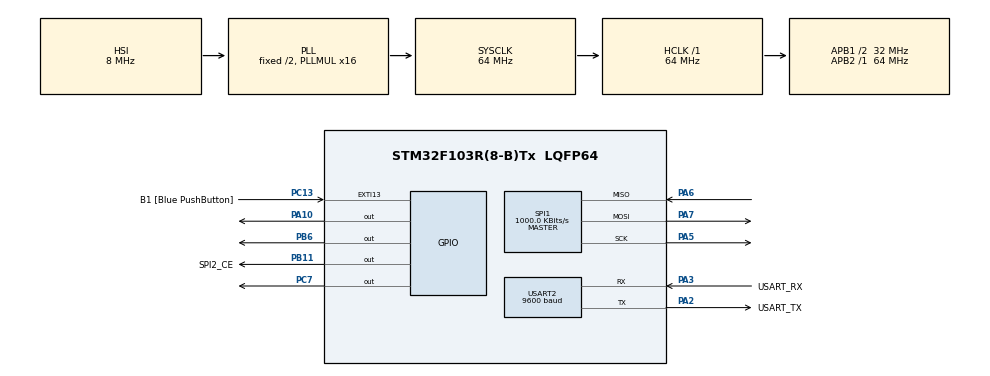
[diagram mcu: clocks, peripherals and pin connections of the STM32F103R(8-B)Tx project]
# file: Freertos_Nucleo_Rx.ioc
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FREERTOS.Tasks01=Task_Idle,-3,128,Idle_App,Default,NULL,Dynamic,NULL,NULL;Task_SPI,0,256,SPI_App,Default,NULL,Dynamic,NULL,NULL;Task_UART,0,256,UART_App,Default,NULL,Dynamic,NULL,NULL
FREERTOS.configUSE_NEWLIB_REENTRANT=1
Mcu.Family=STM32F1
Mcu.Name=STM32F103R(8-B)Tx
Mcu.Package=LQFP64
NVIC.EXTI15_10_IRQn=true\:5\:0\:false\:false\:true\:true\:true\:true\:true
NVIC.PriorityGroup=NVIC_PRIORITYGROUP_4
NVIC.TIM4_IRQn=true\:15\:0\:false\:false\:true\:false\:false\:true\:true
NVIC.TimeBase=TIM4_IRQn
NVIC.TimeBaseIP=TIM4
PA10.Signal=GPIO_Output
PA13.GPIO_Label=TMS
PA13.Mode=Serial_Wire
PA13.Signal=SYS_JTMS-SWDIO
PA14.GPIO_Label=TCK
PA14.Mode=Serial_Wire
PA14.Signal=SYS_JTCK-SWCLK
PA2.GPIO_Label=USART_TX
PA2.GPIO_Mode=GPIO_MODE_AF_PP
PA2.GPIO_PuPd=GPIO_NOPULL
PA2.GPIO_Speed=GPIO_SPEED_FREQ_LOW
PA2.Mode=Asynchronous
PA2.Signal=USART2_TX
PA3.GPIO_Label=USART_RX
PA3.GPIO_Mode=GPIO_MODE_AF_PP
PA3.GPIO_PuPd=GPIO_NOPULL
PA3.GPIO_Speed=GPIO_SPEED_FREQ_LOW
PA3.Mode=Asynchronous
PA3.Signal=USART2_RX
PA5.Mode=Full_Duplex_Master
PA5.Signal=SPI1_SCK
PA6.Mode=Full_Duplex_Master
PA6.Signal=SPI1_MISO
PA7.Mode=Full_Duplex_Master
PA7.Signal=SPI1_MOSI
PB11.GPIO_Label=SPI2_CE
PB11.Signal=GPIO_Output
PB12.Signal=SPI2_NSS
PB3.GPIO_Label=SWO
PB3.Signal=SYS_JTDO-TRACESWO
PB6.Signal=GPIO_Output
PC13-TAMPER-RTC.GPIO_Label=B1 [Blue PushButton]
PC13-TAMPER-RTC.GPIO_PuPd=GPIO_NOPULL
PC13-TAMPER-RTC.Signal=GPXTI13
PC14-OSC32_IN.Mode=LSE-External-Oscillator
PC14-OSC32_IN.Signal=RCC_OSC32_IN
PC15-OSC32_OUT.Mode=LSE-External-Oscillator
PC15-OSC32_OUT.Signal=RCC_OSC32_OUT
PC7.Signal=GPIO_Output
PD0-OSC_IN.Mode=HSE-External-Clock-Source
PD0-OSC_IN.Signal=RCC_OSC_IN
PD1-OSC_OUT.Mode=HSE-External-Clock-Source
PD1-OSC_OUT.Signal=RCC_OSC_OUT
ProjectManager.HeapSize=0x200
ProjectManager.StackSize=0x400
ProjectManager.TargetToolchain=STM32CubeIDE
RCC.AHBFreq_Value=64000000
RCC.APB1CLKDivider=RCC_HCLK_DIV2
RCC.APB1Freq_Value=32000000
RCC.APB1TimFreq_Value=64000000
RCC.APB2Freq_Value=64000000
RCC.APB2TimFreq_Value=64000000
RCC.HCLKFreq_Value=64000000
RCC.PLLMUL=RCC_PLL_MUL16
RCC.RTCClockSelection=RCC_RTCCLKSOURCE_LSE
RCC.SYSCLKFreq_VALUE=64000000
RCC.SYSCLKSource=RCC_SYSCLKSOURCE_PLLCLK
RCC.USBFreq_Value=64000000
SPI1.BaudRatePrescaler=SPI_BAUDRATEPRESCALER_64
SPI1.CalculateBaudRate=1000.0 KBits/s
SPI1.Direction=SPI_DIRECTION_2LINES
SPI1.Mode=SPI_MODE_MASTER
SPI1.VirtualType=VM_MASTER
USART2.BaudRate=9600
USART2.Mode=MODE_TX
USART2.VirtualMode=VM_ASYNC
USART2.WordLength=WORDLENGTH_8B
VP_FREERTOS_VS_CMSIS_V1.Mode=CMSIS_V1
VP_SYS_VS_tim4.Mode=TIM4
board=NUCLEO-F103RB

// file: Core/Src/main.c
/* USER CODE BEGIN Header */
/**
  ******************************************************************************
  * @file           : main.c
  * @brief          : Main program body
  ******************************************************************************
  * @attention
  *
  * Copyright (c) 2022 STMicroelectronics.
  * All rights reserved.
  *
  * This software is licensed under terms that can be found in the LICENSE file
  * in the root directory of this software component.
  * If no LICENSE file comes with this software, it is provided AS-IS.
  *
  ******************************************************************************
  */
/* USER CODE END Header */
#include "main.h"
#include "cmsis_os.h"

/* USER CODE BEGIN Includes */
#include <stdio.h>
#include "nrf24l01.h"
/* USER CODE END Includes */

/* USER CODE BEGIN PD */
#define LED_GREEN_GPIO		GPIOA
#define LED_GREEN_PIN		GPIO_PIN_10
#define BLUE_BUTTON_GPIO	GPIOC
#define BLUE_BUTTON_PIN 	GPIO_PIN_13
#define SPI_CE_GPIO			GPIOC
#define SPI_CE_PIN			GPIO_PIN_7
/* USER CODE END PD */

SPI_HandleTypeDef hspi1;

UART_HandleTypeDef huart2;

osThreadId Task_IdleHandle;
osThreadId Task_SPIHandle;
osThreadId Task_UARTHandle;

void SystemClock_Config(void);
static void MX_GPIO_Init(void);
static void MX_USART2_UART_Init(void);
static void MX_SPI1_Init(void);
void Idle_App(void const * argument);
void SPI_App(void const * argument);
void UART_App(void const * argument);

/* USER CODE BEGIN 0 */
uint8_t UART_STATUS=0;
uint8_t RxAddress[]={0xEE, 0xDD, 0xCC, 0xBB, 0xAA};
uint8_t Rx_data[64];
typedef enum
{
ALLUMER=GPIO_PIN_SET,
ETEINDRE=GPIO_PIN_RESET
}etatled_e;
etatled_e etatled_verte=ETEINDRE;
/* USER CODE END 0 */

int main(void)
{

  /* MCU Configuration--------------------------------------------------------*/

  /* Reset of all peripherals, Initializes the Flash interface and the Systick. */
  HAL_Init();

  /* Configure the system clock */
  SystemClock_Config();

  /* Initialize all configured peripherals */
  MX_GPIO_Init();
  MX_USART2_UART_Init();
  MX_SPI1_Init();
  /* USER CODE BEGIN 2 */
  nrf24_Init();

  nrf24_RxMode(RxAddress, 10);
  /* USER CODE END 2 */

  /* Create the thread(s) */
  /* definition and creation of Task_Idle */
  osThreadDef(Task_Idle, Idle_App, osPriorityIdle, 0, 128);
  Task_IdleHandle = osThreadCreate(osThread(Task_Idle), NULL);

  /* definition and creation of Task_SPI */
  osThreadDef(Task_SPI, SPI_App, osPriorityNormal, 0, 256);
  Task_SPIHandle = osThreadCreate(osThread(Task_SPI), NULL);

  /* definition and creation of Task_UART */
  osThreadDef(Task_UART, UART_App, osPriorityNormal, 0, 256);
  Task_UARTHandle = osThreadCreate(osThread(Task_UART), NULL);

  /* Start scheduler */
  osKernelStart();

  /* We should never get here as control is now taken by the scheduler */
  /* Infinite loop */
  while (1)
  {

  }
}

void SystemClock_Config(void)
{
  RCC_OscInitTypeDef RCC_OscInitStruct = {0};
  RCC_ClkInitTypeDef RCC_ClkInitStruct = {0};

  /** Initializes the RCC Oscillators according to the specified parameters
  * in the RCC_OscInitTypeDef structure.
  */
  RCC_OscInitStruct.OscillatorType = RCC_OSCILLATORTYPE_HSI;
  RCC_OscInitStruct.HSIState = RCC_HSI_ON;
  RCC_OscInitStruct.HSICalibrationValue = RCC_HSICALIBRATION_DEFAULT;
  RCC_OscInitStruct.PLL.PLLState = RCC_PLL_ON;
  RCC_OscInitStruct.PLL.PLLSource = RCC_PLLSOURCE_HSI_DIV2;
  RCC_OscInitStruct.PLL.PLLMUL = RCC_PLL_MUL16;
  if (HAL_RCC_OscConfig(&RCC_OscInitStruct) != HAL_OK)
  {
    Error_Handler();
  }

  /** Initializes the CPU, AHB and APB buses clocks
  */
  RCC_ClkInitStruct.ClockType = RCC_CLOCKTYPE_HCLK|RCC_CLOCKTYPE_SYSCLK
                              |RCC_CLOCKTYPE_PCLK1|RCC_CLOCKTYPE_PCLK2;
  RCC_ClkInitStruct.SYSCLKSource = RCC_SYSCLKSOURCE_PLLCLK;
  RCC_ClkInitStruct.AHBCLKDivider = RCC_SYSCLK_DIV1;
  RCC_ClkInitStruct.APB1CLKDivider = RCC_HCLK_DIV2;
  RCC_ClkInitStruct.APB2CLKDivider = RCC_HCLK_DIV1;

  if (HAL_RCC_ClockConfig(&RCC_ClkInitStruct, FLASH_LATENCY_2) != HAL_OK)
  {
    Error_Handler();
  }
}

static void MX_SPI1_Init(void)
{

  /* SPI1 parameter configuration*/
  hspi1.Instance = SPI1;
  hspi1.Init.Mode = SPI_MODE_MASTER;
  hspi1.Init.Direction = SPI_DIRECTION_2LINES;
  hspi1.Init.DataSize = SPI_DATASIZE_8BIT;
  hspi1.Init.CLKPolarity = SPI_POLARITY_LOW;
  hspi1.Init.CLKPhase = SPI_PHASE_1EDGE;
  hspi1.Init.NSS = SPI_NSS_SOFT;
  hspi1.Init.BaudRatePrescaler = SPI_BAUDRATEPRESCALER_64;
  hspi1.Init.FirstBit = SPI_FIRSTBIT_MSB;
  hspi1.Init.TIMode = SPI_TIMODE_DISABLE;
  hspi1.Init.CRCCalculation = SPI_CRCCALCULATION_DISABLE;
  hspi1.Init.CRCPolynomial = 10;
  if (HAL_SPI_Init(&hspi1) != HAL_OK)
  {
    Error_Handler();
  }

}

static void MX_USART2_UART_Init(void)
{

  huart2.Instance = USART2;
  huart2.Init.BaudRate = 9600;
  huart2.Init.WordLength = UART_WORDLENGTH_8B;
  huart2.Init.StopBits = UART_STOPBITS_1;
  huart2.Init.Parity = UART_PARITY_NONE;
  huart2.Init.Mode = UART_MODE_TX;
  huart2.Init.HwFlowCtl = UART_HWCONTROL_NONE;
  huart2.Init.OverSampling = UART_OVERSAMPLING_16;
  if (HAL_UART_Init(&huart2) != HAL_OK)
  {
    Error_Handler();
  }

}

static void MX_GPIO_Init(void)
{
  GPIO_InitTypeDef GPIO_InitStruct = {0};

  /* GPIO Ports Clock Enable */
  __HAL_RCC_GPIOC_CLK_ENABLE();
  __HAL_RCC_GPIOD_CLK_ENABLE();
  __HAL_RCC_GPIOA_CLK_ENABLE();
  __HAL_RCC_GPIOB_CLK_ENABLE();

  /*Configure GPIO pin Output Level */
  HAL_GPIO_WritePin(GPIOB, SPI2_CE_Pin|GPIO_PIN_6, GPIO_PIN_RESET);

  /*Configure GPIO pin Output Level */
  HAL_GPIO_WritePin(GPIOC, GPIO_PIN_7, GPIO_PIN_RESET);

  /*Configure GPIO pin Output Level */
  HAL_GPIO_WritePin(GPIOA, GPIO_PIN_10, GPIO_PIN_RESET);

  /*Configure GPIO pin : B1_Pin */
  GPIO_InitStruct.Pin = B1_Pin;
  GPIO_InitStruct.Mode = GPIO_MODE_IT_RISING;
  GPIO_InitStruct.Pull = GPIO_NOPULL;
  HAL_GPIO_Init(B1_GPIO_Port, &GPIO_InitStruct);

  /*Configure GPIO pins : SPI2_CE_Pin PB6 */
  GPIO_InitStruct.Pin = SPI2_CE_Pin|GPIO_PIN_6;
  GPIO_InitStruct.Mode = GPIO_MODE_OUTPUT_PP;
  GPIO_InitStruct.Pull = GPIO_NOPULL;
  GPIO_InitStruct.Speed = GPIO_SPEED_FREQ_LOW;
  HAL_GPIO_Init(GPIOB, &GPIO_InitStruct);

  /*Configure GPIO pin : PB12 */
  GPIO_InitStruct.Pin = GPIO_PIN_12;
  GPIO_InitStruct.Mode = GPIO_MODE_AF_PP;
  GPIO_InitStruct.Speed = GPIO_SPEED_FREQ_HIGH;
  HAL_GPIO_Init(GPIOB, &GPIO_InitStruct);

  /*Configure GPIO pin : PC7 */
  GPIO_InitStruct.Pin = GPIO_PIN_7;
  GPIO_InitStruct.Mode = GPIO_MODE_OUTPUT_PP;
  GPIO_InitStruct.Pull = GPIO_NOPULL;
  GPIO_InitStruct.Speed = GPIO_SPEED_FREQ_LOW;
  HAL_GPIO_Init(GPIOC, &GPIO_InitStruct);

  /*Configure GPIO pin : PA10 */
  GPIO_InitStruct.Pin = GPIO_PIN_10;
  GPIO_InitStruct.Mode = GPIO_MODE_OUTPUT_PP;
  GPIO_InitStruct.Pull = GPIO_NOPULL;
  GPIO_InitStruct.Speed = GPIO_SPEED_FREQ_LOW;
  HAL_GPIO_Init(GPIOA, &GPIO_InitStruct);

  /* EXTI interrupt init*/
  HAL_NVIC_SetPriority(EXTI15_10_IRQn, 5, 0);
  HAL_NVIC_EnableIRQ(EXTI15_10_IRQn);

}

void Idle_App(void const * argument)
{
  for(;;)
  {
    osDelay(1);
  }
}

void SPI_App(void const * argument)
{
  /* USER CODE BEGIN SPI_App */
  /* Infinite loop */
  for(;;)
  {
	if(isDataAvailable(1)==1){
		nrf24_Receive(Rx_data);
		HAL_GPIO_TogglePin(LED_GREEN_GPIO, LED_GREEN_PIN);
		UART_STATUS=1;
	}
    vTaskDelay(10);
  }
  /* USER CODE END SPI_App */
}

void UART_App(void const * argument)
{
  /* USER CODE BEGIN UART_App */
  /* Infinite loop */
  for(;;)
  {
	  if(UART_STATUS==1){
		  //envoyer Rx_data via UART
	  }
    vTaskDelay(10);
  }
  /* USER CODE END UART_App */
}

void HAL_TIM_PeriodElapsedCallback(TIM_HandleTypeDef *htim)
{
  if (htim->Instance == TIM4) {
    HAL_IncTick();
  }
}

void Error_Handler(void)
{
  __disable_irq();
  while (1)
  {
  }
}
